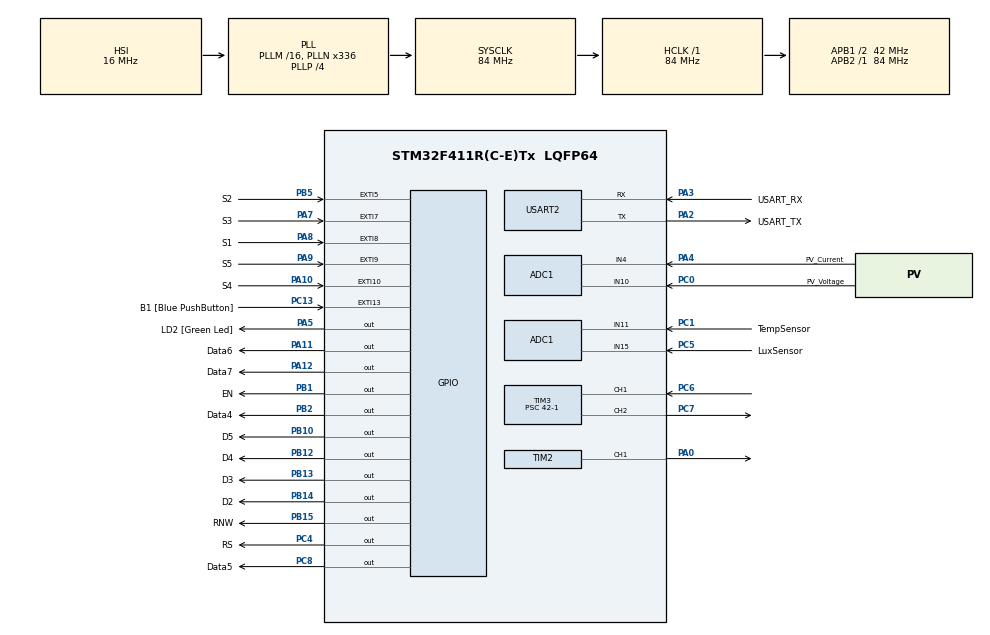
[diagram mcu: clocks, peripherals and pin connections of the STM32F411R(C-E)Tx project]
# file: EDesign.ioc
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ADC1.Channel-0\#ChannelRegularConversion=ADC_CHANNEL_4
ADC1.InjNumberOfConversion=0
ADC1.NbrOfConversion=1
ADC1.NbrOfConversionFlag=1
ADC1.Rank-0\#ChannelRegularConversion=1
ADC1.SamplingTime-0\#ChannelRegularConversion=ADC_SAMPLETIME_480CYCLES
ADC1.ScanConvMode=ENABLE
ADC1.master=1
Dma.ADC1.0.Direction=DMA_PERIPH_TO_MEMORY
Dma.ADC1.0.FIFOMode=DMA_FIFOMODE_DISABLE
Dma.ADC1.0.Instance=DMA2_Stream0
Dma.ADC1.0.MemDataAlignment=DMA_MDATAALIGN_HALFWORD
Dma.ADC1.0.MemInc=DMA_MINC_ENABLE
Dma.ADC1.0.Mode=DMA_CIRCULAR
Dma.ADC1.0.PeriphDataAlignment=DMA_PDATAALIGN_HALFWORD
Dma.ADC1.0.PeriphInc=DMA_PINC_DISABLE
Dma.ADC1.0.Priority=DMA_PRIORITY_LOW
Dma.Request0=ADC1
Dma.Request1=TIM2_CH1
Dma.TIM2_CH1.1.Direction=DMA_MEMORY_TO_PERIPH
Dma.TIM2_CH1.1.FIFOMode=DMA_FIFOMODE_DISABLE
Dma.TIM2_CH1.1.Instance=DMA1_Stream5
Dma.TIM2_CH1.1.MemDataAlignment=DMA_MDATAALIGN_WORD
Dma.TIM2_CH1.1.MemInc=DMA_MINC_ENABLE
Dma.TIM2_CH1.1.Mode=DMA_NORMAL
Dma.TIM2_CH1.1.PeriphDataAlignment=DMA_PDATAALIGN_WORD
Dma.TIM2_CH1.1.PeriphInc=DMA_PINC_DISABLE
Dma.TIM2_CH1.1.Priority=DMA_PRIORITY_LOW
Mcu.Family=STM32F4
Mcu.Name=STM32F411R(C-E)Tx
Mcu.Package=LQFP64
NVIC.ADC_IRQn=true\:1\:0\:true\:false\:true\:true\:true\:true
NVIC.DMA1_Stream5_IRQn=true\:0\:0\:false\:false\:true\:false\:true\:true
NVIC.DMA2_Stream0_IRQn=true\:0\:0\:false\:false\:true\:false\:true\:true
NVIC.EXTI15_10_IRQn=true\:0\:0\:false\:false\:true\:true\:true\:true
NVIC.EXTI9_5_IRQn=true\:2\:0\:true\:false\:true\:true\:true\:true
NVIC.PriorityGroup=NVIC_PRIORITYGROUP_4
NVIC.TIM2_IRQn=true\:0\:0\:false\:false\:true\:true\:true\:true
NVIC.TIM3_IRQn=true\:0\:0\:true\:false\:true\:true\:true\:true
NVIC.USART2_IRQn=true\:2\:0\:true\:false\:true\:true\:true\:true
PA0-WKUP.Signal=S_TIM2_CH1_ETR
PA10.GPIO_Label=S4
PA10.GPIO_ModeDefaultEXTI=GPIO_MODE_IT_RISING_FALLING
PA10.GPIO_PuPd=GPIO_PULLUP
PA10.Signal=GPXTI10
PA11.GPIO_Label=Data6
PA11.GPIO_PuPd=GPIO_PULLDOWN
PA11.Signal=GPIO_Output
PA12.GPIO_Label=Data7
PA12.GPIO_PuPd=GPIO_PULLDOWN
PA12.Signal=GPIO_Output
PA13.GPIO_Label=TMS
PA13.Mode=Serial_Wire
PA13.Signal=SYS_JTMS-SWDIO
PA14.GPIO_Label=TCK
PA14.Mode=Serial_Wire
PA14.Signal=SYS_JTCK-SWCLK
PA2.GPIO_Label=USART_TX
PA2.Mode=Asynchronous
PA2.Signal=USART2_TX
PA3.GPIO_Label=USART_RX
PA3.Mode=Asynchronous
PA3.Signal=USART2_RX
PA4.GPIO_Label=PV_Current
PA4.Signal=ADCx_IN4
PA5.GPIO_Label=LD2 [Green Led]
PA5.Signal=GPIO_Output
PA7.GPIO_Label=S3
PA7.GPIO_ModeDefaultEXTI=GPIO_MODE_IT_RISING_FALLING
PA7.GPIO_PuPd=GPIO_PULLUP
PA7.Signal=GPXTI7
PA8.GPIO_Label=S1
PA8.GPIO_ModeDefaultEXTI=GPIO_MODE_IT_RISING_FALLING
PA8.GPIO_PuPd=GPIO_PULLUP
PA8.Signal=GPXTI8
PA9.GPIO_Label=S5
PA9.GPIO_ModeDefaultEXTI=GPIO_MODE_IT_RISING_FALLING
PA9.GPIO_PuPd=GPIO_PULLUP
PA9.Signal=GPXTI9
PB1.GPIO_Label=EN
PB1.GPIO_PuPd=GPIO_PULLDOWN
PB1.Signal=GPIO_Output
PB10.GPIO_Label=D5
PB10.GPIO_PuPd=GPIO_PULLUP
PB10.PinState=GPIO_PIN_RESET
PB10.Signal=GPIO_Output
PB12.GPIO_Label=D4
PB12.GPIO_PuPd=GPIO_PULLUP
PB12.PinState=GPIO_PIN_RESET
PB12.Signal=GPIO_Output
PB13.GPIO_Label=D3
PB13.GPIO_PuPd=GPIO_PULLUP
PB13.PinState=GPIO_PIN_RESET
PB13.Signal=GPIO_Output
PB14.GPIO_Label=D2
PB14.GPIO_PuPd=GPIO_PULLUP
PB14.PinState=GPIO_PIN_RESET
PB14.Signal=GPIO_Output
PB15.GPIO_Label=RNW
PB15.GPIO_PuPd=GPIO_PULLDOWN
PB15.Signal=GPIO_Output
PB2.GPIO_Label=Data4
PB2.GPIO_PuPd=GPIO_PULLDOWN
PB2.Signal=GPIO_Output
PB3.GPIO_Label=SWO
PB3.Signal=SYS_JTDO-SWO
PB5.GPIO_Label=S2
PB5.GPIO_ModeDefaultEXTI=GPIO_MODE_IT_RISING_FALLING
PB5.GPIO_PuPd=GPIO_PULLUP
PB5.Signal=GPXTI5
PC0.GPIO_Label=PV_Voltage
PC0.Signal=ADCx_IN10
PC1.GPIO_Label=TempSensor
PC1.Signal=ADCx_IN11
PC13-ANTI_TAMP.GPIO_Label=B1 [Blue PushButton]
PC13-ANTI_TAMP.GPIO_ModeDefaultEXTI=GPIO_MODE_IT_FALLING
PC13-ANTI_TAMP.Signal=GPXTI13
PC14-OSC32_IN.Mode=LSE-External-Oscillator
PC14-OSC32_IN.Signal=RCC_OSC32_IN
PC15-OSC32_OUT.Mode=LSE-External-Oscillator
PC15-OSC32_OUT.Signal=RCC_OSC32_OUT
PC4.GPIO_Label=RS
PC4.GPIO_PuPd=GPIO_PULLDOWN
PC4.Signal=GPIO_Output
PC5.GPIO_Label=LuxSensor
PC5.Signal=ADCx_IN15
PC6.Signal=S_TIM3_CH1
PC7.Signal=S_TIM3_CH2
PC8.GPIO_Label=Data5
PC8.GPIO_PuPd=GPIO_PULLDOWN
PC8.Signal=GPIO_Output
PH0\ -\ OSC_IN.Mode=HSE-External-Clock-Source
PH0\ -\ OSC_IN.Signal=RCC_OSC_IN
PH1\ -\ OSC_OUT.Mode=HSE-External-Clock-Source
PH1\ -\ OSC_OUT.Signal=RCC_OSC_OUT
ProjectManager.HeapSize=0x200
ProjectManager.StackSize=0x400
ProjectManager.TargetToolchain=STM32CubeIDE
RCC.48MHZClocksFreq_Value=84000000
RCC.AHBFreq_Value=84000000
RCC.APB1CLKDivider=RCC_HCLK_DIV2
RCC.APB1Freq_Value=42000000
RCC.APB1TimFreq_Value=84000000
RCC.APB2Freq_Value=84000000
RCC.APB2TimFreq_Value=84000000
RCC.CortexFreq_Value=84000000
RCC.FLatency-AdvancedSettings=FLASH_LATENCY_2
RCC.HCLKFreq_Value=84000000
RCC.HSE_VALUE=8000000
RCC.HSI_VALUE=16000000
RCC.PLLN=336
RCC.PLLP=RCC_PLLP_DIV4
RCC.SYSCLKFreq_VALUE=84000000
RCC.SYSCLKSource=RCC_SYSCLKSOURCE_PLLCLK
RCC.VCOOutputFreq_Value=336000000
RTC.Date=19
RTC.Hours=16
RTC.Minutes=20
RTC.Month=RTC_MONTH_SEPTEMBER
RTC.WeekDay=RTC_WEEKDAY_THURSDAY
SH.ADCx_IN10.0=ADC1_IN10,IN10
SH.ADCx_IN11.0=ADC1_IN11,IN11
SH.ADCx_IN15.0=ADC1_IN15,IN15
SH.ADCx_IN4.0=ADC1_IN4,IN4
SH.S_TIM2_CH1_ETR.0=TIM2_CH1,PWM Generation1 CH1
SH.S_TIM3_CH1.0=TIM3_CH1,Input_Capture1_from_TI1
SH.S_TIM3_CH2.0=TIM3_CH2,PWM Generation2 CH2
TIM1.Channel-Output\ Compare1\ No\ Output=TIM_CHANNEL_1
TIM2.Channel-PWM\ Generation1\ CH1=TIM_CHANNEL_1
TIM2.Period=39
TIM2.Prescaler=83
TIM3.Channel-Input_Capture1_from_TI1=TIM_CHANNEL_1
TIM3.Channel-PWM\ Generation2\ CH2=TIM_CHANNEL_2
TIM3.Period=25999
TIM3.Prescaler=42-1
USART2.Parity=PARITY_ODD
USART2.VirtualMode=VM_ASYNC
USART2.WordLength=WORDLENGTH_9B
VP_RTC_VS_RTC_Activate.Mode=RTC_Enabled
VP_RTC_VS_RTC_Calendar.Mode=RTC_Calendar
VP_TIM1_VS_ClockSourceINT.Mode=Internal
VP_TIM1_VS_no_output1.Mode=Output Compare1 No Output
VP_TIM3_VS_ClockSourceINT.Mode=Internal
board=NUCLEO-F411RE

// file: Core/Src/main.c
/* USER CODE BEGIN Header */
/**
  ******************************************************************************
  * @file           : main.c
  * @brief          : Main program body
  ******************************************************************************
  * @attention
  *
  * Copyright (c) 2024 STMicroelectronics.
  * All rights reserved.
  *
  * This software is licensed under terms that can be found in the LICENSE file
  * in the root directory of this software component.
  * If no LICENSE file comes with this software, it is provided AS-IS.
  *
  ******************************************************************************
  */
/* USER CODE END Header */
#include "main.h"

/* USER CODE BEGIN Includes */
#include "proj_utils.h"
#include <string.h>
#include <stdlib.h>
#include "lcd.h"
/* USER CODE END Includes */

ADC_HandleTypeDef hadc1;
DMA_HandleTypeDef hdma_adc1;

RTC_HandleTypeDef hrtc;

TIM_HandleTypeDef htim1;
TIM_HandleTypeDef htim2;
TIM_HandleTypeDef htim3;
DMA_HandleTypeDef hdma_tim2_ch1;

UART_HandleTypeDef huart2;

/* USER CODE BEGIN PV */
uint16_t LED2 = GPIO_PIN_14;
uint16_t LED3 = GPIO_PIN_13;
uint16_t LED4 = GPIO_PIN_12;
uint16_t LED5 = GPIO_PIN_10;

uint16_t btnTop = GPIO_PIN_8;
uint16_t btnLeft = GPIO_PIN_6; //This is not set yet
uint16_t btnCenter = GPIO_PIN_7;
uint16_t btnRight = GPIO_PIN_8; //This is not set yet
uint16_t btnBottom = GPIO_PIN_9;

char txBuffer[20];
volatile uint16_t txCounter = 0;
char testMsg[16];
uint8_t studentNumber[] = "&_TANDO123_*\n";

bounceState btn1bounce;
bounceState btn2bounce;
bounceState btn3bounce;
bounceState btn4bounce;
bounceState btn5bounce;
//progStates state;
/* USER CODE END PV */

void SystemClock_Config(void);
static void MX_GPIO_Init(void);
static void MX_DMA_Init(void);
static void MX_USART2_UART_Init(void);
static void MX_ADC1_Init(void);
static void MX_TIM3_Init(void);
static void MX_RTC_Init(void);
static void MX_TIM1_Init(void);
static void MX_TIM2_Init(void);

int main(void)
{

  /* USER CODE BEGIN 1 */

	state = (progStates* )calloc(1,sizeof(progStates));
	tempSense = (tempSensor* )calloc(1,sizeof(tempSensor));
	screen = (lcdScreen* )calloc(1,sizeof(lcdScreen));
	powerMeasure = (powerSensor* )calloc(1,sizeof(powerSensor));
	sDateTime = (dateTime*)calloc(1,sizeof(dateTime));
	calibVals = (calibValue*)calloc(1,sizeof(calibValue));
	tMenu = (timeMenu*)calloc(1, sizeof(timeMenu));

//	Initialising the debounce button states. Assuming that all btns are pulled put this can be checked though ioc generated file.
	btn1bounce.level = 1;
	btn2bounce.level = 1;
	btn3bounce.level = 1;
	btn4bounce.level = 1;
	btn5bounce.level = 1;

  /* USER CODE END 1 */

  /* MCU Configuration--------------------------------------------------------*/

  /* Reset of all peripherals, Initializes the Flash interface and the Systick. */
  HAL_Init();

  /* USER CODE BEGIN Init */
  progInit(state);
  tempSensorInit(tempSense);
  screenInit(screen, tempSense, powerMeasure, sDateTime);
  calibIinit(calibVals);
  /* USER CODE END Init */

  /* Configure the system clock */
  SystemClock_Config();

  /* Initialize all configured peripherals */
  MX_GPIO_Init();
  MX_DMA_Init();
  MX_USART2_UART_Init();
  MX_ADC1_Init();
  MX_TIM3_Init();
  MX_RTC_Init();
  MX_TIM1_Init();
  MX_TIM2_Init();
  /* USER CODE BEGIN 2 */

  Lcd_PortType LCD_pin_ports[] = { GPIOB, GPIOC, GPIOA, GPIOA};
  Lcd_PinType LCD_pins[] ={GPIO_PIN_2, GPIO_PIN_8, GPIO_PIN_11, GPIO_PIN_12};

  Lcd_HandleTypeDef lcd;

  lcd = Lcd_create(LCD_pin_ports, LCD_pins, GPIOC, GPIO_PIN_4, GPIOB, GPIO_PIN_1, LCD_4_BIT_MODE);
  HAL_GPIO_WritePin(GPIOB, D4_Pin, GPIO_PIN_SET);

  while(HAL_GetTick() <=100){
	  __NOP();
  }

  HAL_UART_Transmit_IT(&huart2, studentNumber, sizeof(studentNumber)-1);
  int timeCapture = 0;
  int timeCaptured = 0;

#if 0 // This is for demo 3
  displayMode1(&lcd, screen);
  screen->currentDisplay = 1;
#endif

  HAL_RTC_GetTime(&hrtc, &sDateTime->Time, RTC_FORMAT_BIN);
  HAL_RTC_GetDate(&hrtc, &sDateTime->Date, RTC_FORMAT_BIN);
  sDateTime->year = 2024;
  HAL_TIM_PWM_Start(&htim2, TIM_CHANNEL_1);

  setDisplayMode3(screen, sDateTime);
  displayMode1(&lcd, screen);
#if 1
  HAL_TIM_IC_Start_IT(&htim3, TIM_CHANNEL_1);
#endif

  /* USER CODE END 2 */

  /* Infinite loop */
  while (1)
  {

    /* USER CODE BEGIN 3 */

//	  Checking for button presses

	  if (state->activeBtn != 0){

		  switch (state->activeBtn){

		  case S1_Pin:

			  if(state->mode == SMODE_DATETIME){
				  tMenu->topButtonPressed = 1;
			  }
			  else{
				  EN_Measure(state, tempSense, screen);
			  }
			  state->activeBtn = 0;
			  break;

		  case S5_Pin:

			  if(state->mode == SMODE_DATETIME){
				  tMenu->bottomButtonPressed = 1;
			  }
			  else{
			  SP_Measure(state, powerMeasure, calibVals, screen);
//			  screen->updateScreen = 0;

			  }
			  state->activeBtn = 0;
			  break;

		  case S2_Pin:

			  state->leftPress ++;

			  switch(state->leftPress){
			  case 3:
				  screen->screenRotate = 1;
				  screen->rortateTick = HAL_GetTick();
				  switchScreen(screen);
				  break;

			  case 4:
				  state->leftPress = 1;
				  screen->screenRotate = 0;
				  switchScreen(screen);
				  break;

			  default:
				  switchScreen(screen);
				  break;
			  }

			  state->activeBtn = 0;
			  break;

		  case S3_Pin:

			  if(state->mode == SMODE_DATETIME){
				  tMenu->itemIndex ++;
			  }
			  else{
				  displayMode3(&lcd, screen);
				  state->mode = SMODE_DATETIME;
				  tMenu->itemIndex ++;
			  }

			  state->activeBtn = 0;
			  break;

		  case S4_Pin:
			  state->mode = SMODE_CALB;
			  state->modeState = MEASURE;
			  state->activeBtn = 0;
			  break;

		  default:
			  state->activeBtn = 0;
			  break;
		  }

	  }

	  else{
		  __NOP();
	  }

//	  Checking for command
	  if (state->commandReady){
		  int isCommandVal = isCommandValid(state);

#if 1
		  switch(isCommandVal){

		  case 1:
			  uart_command_set(state);
			  switch(state->cmdCall){

			  case SMODE_EN:
				  EN_Measure(state,tempSense, screen);
//				  screen->updateScreen = 1;
//				  screen->currentDisplay = 2;
				  break;

			  case SMODE_SP:
				  SP_Measure(state, powerMeasure, calibVals,screen);
//				  screen->updateScreen = 1;
//				  screen->currentDisplay = 1;
				  break;

			  case SMODE_CALB:
				  state->mode = SMODE_CALB;
				  state->modeState = MEASURE;
				  break;

			  default:
				  state->commandReady = 0;
				  resetStr(state->commandMsg,sizeof(state->commandMsg));
				  break;
			  }

		  default:
			  state->commandReady = 0;
			  resetStr(state->commandMsg,sizeof(state->commandMsg));
			  break;
		 }

#endif

#if 0
		  if(isCommandValid(state)){
			  uart_command_set(state);
			  state->commandReady = 0;
			  if(state->mode == SMODE_EN){
				  EN_Measure(state,tempSense, screen);
			  }

			  else if(state->mode == SMODE_SP){
				  __NOP();
			  }

			  else if(state->mode == SMODE_CALB){
				  __NOP();
			  }

			  else{
				  state->commandReady = 0;
				  resetStr(state->commandMsg,sizeof(state->commandMsg));
			  }
		  }

		  else{
			  state->commandReady = 0;
			  resetStr(state->commandMsg,sizeof(state->commandMsg));
		  }

	  }
#endif
	  }else{
		  __NOP();
	  }
//	----End of command check----

//	  Power Measurement

	  if(state->mode == SMODE_SP && state->modeState == MEASURE){
		  if(powerMeasure->mppDutyCycle == 0){
			  powerMeasure->mppDutyCycle = 39;
		  }

		  else{
			  powerMeasure->mppDutyCycle = powerMeasure->mppDutyCycle - 1;
		  }

		  TIM2->CCR1 = powerMeasure->mppDutyCycle;

		  setAdcChannel(ADC_CHANNEL_10, &hadc1);
		  HAL_ADC_Start(&hadc1);
		  HAL_ADC_PollForConversion(&hadc1, HAL_MAX_DELAY);
		  powerMeasure->voltageRaw = HAL_ADC_GetValue(&hadc1);
		  HAL_ADC_Stop(&hadc1);

		  setAdcChannel(ADC_CHANNEL_4, &hadc1);
		  HAL_ADC_Start(&hadc1);
		  HAL_ADC_PollForConversion(&hadc1, HAL_MAX_DELAY);
		  powerMeasure->currentVoltageRaw = HAL_ADC_GetValue(&hadc1);
		  HAL_ADC_Stop(&hadc1);

		  toPVMeasures(powerMeasure, tempSense);
		  screen->updateScreen = 1;
		  setDisplayMode1(screen, powerMeasure);

	  }
	  else{
		  __NOP();
	  }

//	  End of power measurement

//	  Start of Calibration measure

	  if(state->mode == SMODE_CALB && state->modeState == MEASURE){
		  CA_Measure(calibVals, state, powerMeasure, tempSense, screen, &hadc1, &huart2);
	  }
	  else{
		  __NOP();
	  }

//	  End of Calibration measure

//	  Check for response
	  if (state->responseReady){
		  HAL_UART_Transmit_IT(&huart2,(uint8_t*) state->response, state->responseSize);
	  }

	  else{
		  __NOP();
	  }

//	  ----End of response check

//	  LED state
	  if (state->ledFlash == 1){
	  	if(timeCaptured){
	  		if((HAL_GetTick() - timeCapture) >= state->tickLedMax){
	  			  	  HAL_GPIO_TogglePin(GPIOB, state->targetLed);
	  			  	  timeCapture = HAL_GetTick();
	  			  	  state->ticks = 0;
	  		}
	  		else{
	  			  	  state->ticks = state->ticks + 1;
	  		}
	  	}

	  	else{
	  		timeCapture = HAL_GetTick();
	  		timeCaptured = 1;
	  	}

	  }

	  else{
		  HAL_GPIO_WritePin(GPIOB, state->targetLed, GPIO_PIN_SET);
	  	  timeCaptured = 0;
	  	}
//	  ----End of LED status----

//	  ----Begin temp sensor----
	  if(tempSense->digitalBegin){
		  if( (HAL_GetTick()-tempSense->startTime) >= 55){
			  if(tempSense->sampleIndex < 10){
				  setAdcChannel(ADC_CHANNEL_11, &hadc1);
				  HAL_ADC_Start(&hadc1);
				  HAL_ADC_PollForConversion(&hadc1, HAL_MAX_DELAY);
				  tempSense->taRaw = HAL_ADC_GetValue(&hadc1);
				  HAL_ADC_Stop(&hadc1);

//				  Getting lux value
				  setAdcChannel(ADC_CHANNEL_15, &hadc1);
				  HAL_ADC_Start(&hadc1);
				  HAL_ADC_PollForConversion(&hadc1, HAL_MAX_DELAY);
				  tempSense->luxRaw = HAL_ADC_GetValue(&hadc1);
				  HAL_ADC_Stop(&hadc1);

//				  Load sample
				  tempSense->digitalSamples[tempSense->sampleIndex] = tempSense->tspRaw;
				  tempSense->analogSamples[tempSense->sampleIndex] = tempSense->taRaw;
				  tempSense->luxSamples[tempSense->sampleIndex] = tempSense->luxRaw;

//				  Reset
				  tempSense->sampleIndex = tempSense->sampleIndex + 1;
				  tempSense->tspRaw = 0;
				  tempSense->taRaw = 0;
				  tempSense->luxRaw = 0;
				  tempSense->digitalBegin = 0;
				  tempSense->startTime = 0;
			  }
			  else{
				  tempSense->sampleIndex = 0;
				  setAdcChannel(ADC_CHANNEL_11, &hadc1);
				  HAL_ADC_Start(&hadc1);
				  HAL_ADC_PollForConversion(&hadc1, HAL_MAX_DELAY);
				  tempSense->taRaw = HAL_ADC_GetValue(&hadc1);
				  HAL_ADC_Stop(&hadc1);

				  setAdcChannel(ADC_CHANNEL_15, &hadc1);
				  HAL_ADC_Start(&hadc1);
				  HAL_ADC_PollForConversion(&hadc1, HAL_MAX_DELAY);
				  tempSense->luxRaw = HAL_ADC_GetValue(&hadc1);
				  HAL_ADC_Stop(&hadc1);

#if 0 //This is for debugging purposes.
				  taToTemp(tempSense);
				  tspToTemp(tempSense);
#endif
				  //Load sample
				  tempSense->digitalSamples[tempSense->sampleIndex] = tempSense->tspRaw;
				  tempSense->analogSamples[tempSense->sampleIndex] = tempSense->taRaw;
				  setAdcChannel(ADC_CHANNEL_11, &hadc1);
				  HAL_ADC_Start(&hadc1);
				  HAL_ADC_PollForConversion(&hadc1, HAL_MAX_DELAY);
				  tempSense->taRaw = HAL_ADC_GetValue(&hadc1);
				  HAL_ADC_Stop(&hadc1);

				  tempSense->tspRaw = 0;
				  tempSense->taRaw = 0;
				  tempSense->luxRaw = 0;
				  tempSense->digitalBegin = 0;
				  tempSense->startTime = 0;
			  }
		  }
	  }
//	  ----End of temp sensor----

//	  ----Start of screen----

	  if(screen->screenRotate == 1){
		  if((HAL_GetTick()-screen->rortateTick) >= 2000){
		  		  switchScreen(screen);
		  		  screen->rortateTick = HAL_GetTick();
		  }
		  else{
			  __NOP();
		  }
	  }

	  else{
		  __NOP();
	  }

	  if(screen->updateScreen == 1 && screen->screenClear == 0){

		switch(screen->currentDisplay){
			case 1:
				displayMode1(&lcd, screen);
				screen->updateScreen = 0;
				break;

			case 2:
				displayMode2(&lcd, screen);
				screen->updateScreen = 0;
				break;

			case 3:
				displayMode3(&lcd, screen);
				screen->updateScreen = 0;
				break;

			default:
				__NOP();
				break;

		  }
#if 0
		  if(screen->currentDisplay == 1){
			  displayMode1(&lcd, screen);
		  }

		  else if(screen->currentDisplay == 2){
			  displayMode2(&lcd, screen);
		  }

		  else{
			  __NOP();
		  }
		  screen->updateScreen = 0;
#endif

	  }

	  else if(screen->screenClear == 1){
		  Lcd_clear(&lcd);
		  screen->screenClear = 0;
	  }

	  else{
		  __NOP();
	  }

//	  ----Start of screen----

//	  ----Start of Date Time----
	  if(state->mode == SMODE_DATETIME){

		  RTC_DateTypeDef sDate = sDateTime->Date;
		  RTC_TimeTypeDef sTime = sDateTime->Time;

		  switch(tMenu->itemIndex){

		  case DAY:

			  if(tMenu->topButtonPressed == 1){
				  sDate.Date = sDate.Date + 1;
				  sDateTime->Date = sDate;

			  }

			  else if(tMenu->bottomButtonPressed == 1){
				  sDate.Date = sDate.Date - 1;
				  sDateTime->Date = sDate;
			  }
			  HAL_RTC_SetDate(&hrtc, &sDateTime->Date, RTC_FORMAT_BIN);
			  break;

		  case MONTH:

			  if(tMenu->topButtonPressed == 1){
				  sDate.Month = sDate.Month + 1;
				  sDateTime->Date = sDate;
			  }

			  else if(tMenu->bottomButtonPressed == 1){
				  sDate.Month = sDate.Month - 1;
				  sDateTime->Date = sDate;
			  }
			  HAL_RTC_SetDate(&hrtc, &sDateTime->Date, RTC_FORMAT_BIN);
			  break;

		  case YEAR:

			  if(tMenu->topButtonPressed == 1){
				  sDateTime->year ++;
			  }

			  else if(tMenu->bottomButtonPressed == 1){
				  sDateTime->year --;
			  }
			  HAL_RTC_SetDate(&hrtc, &sDateTime->Date, RTC_FORMAT_BIN);
			  break;

		  case HOUR:
			  if(tMenu->topButtonPressed == 1){
					  sTime.Hours ++;
					  sDateTime->Time = sTime;
			  }

			  else if(tMenu->bottomButtonPressed == 1){
				  	  sTime.Hours --;
					  sDateTime->Time = sTime;
			  }
			  HAL_RTC_SetTime(&hrtc, &sDateTime->Time, RTC_FORMAT_BIN);
			  break;

		  case MIN:
			  if(tMenu->topButtonPressed == 1){
					  sTime.Minutes ++;
					  sDateTime->Time = sTime;
			  }

			  else if(tMenu->bottomButtonPressed == 1){
				  	  sTime.Minutes --;
					  sDateTime->Time = sTime;
			  }
			  HAL_RTC_SetTime(&hrtc, &sDateTime->Time, RTC_FORMAT_BIN);
			  break;

		  case SEC:
			  if(tMenu->topButtonPressed == 1){
					  sTime.Seconds ++;
					  sDateTime->Time = sTime;
			  }

			  else if(tMenu->bottomButtonPressed == 1){
				  	  sTime.Seconds --;
					  sDateTime->Time = sTime;
			  }
			  HAL_RTC_SetTime(&hrtc, &sDateTime->Time, RTC_FORMAT_BIN);
			  break;

		  case SET_DATE_TIME:

			  tMenu->timeSet = 1;
			  tMenu->itemIndex = 1;
			  break;

		  default:
			  __NOP();

		  }
#if 0
		  HAL_RTC_SetTime(&hrtc, &sDateTime->Time, RTC_FORMAT_BIN);
		  HAL_RTC_SetDate(&hrtc, &sDateTime->Date, RTC_FORMAT_BIN);
#endif
		  if(tMenu->timeSet == 1 ){
			  HAL_RTC_GetTime(&hrtc, &sDateTime->Time, RTC_FORMAT_BIN);
			  HAL_RTC_GetDate(&hrtc, &sDateTime->Date, RTC_FORMAT_BIN);
			  setDisplayMode3(screen, sDateTime);
			  tMenu->topButtonPressed = 0;
			  tMenu->bottomButtonPressed = 0;
			  screen->updateScreen = 1;
		  }

		  else{
			  tMenu->topButtonPressed = 0;
			  tMenu->bottomButtonPressed = 0;
			  HAL_RTC_GetTime(&hrtc, &sDateTime->Time, RTC_FORMAT_BIN);
			  HAL_RTC_GetDate(&hrtc, &sDateTime->Date, RTC_FORMAT_BIN);
			  screen->updateScreen = 1;
			  setDisplayMode3(screen, sDateTime);
		  }
	  }

	  else{
		  __NOP();
	  }

	  if(tMenu->timeSet == 1){
		  HAL_RTC_GetTime(&hrtc, &sDateTime->Time, RTC_FORMAT_BIN);
		  HAL_RTC_GetDate(&hrtc, &sDateTime->Date, RTC_FORMAT_BIN);
		  setDisplayMode3(screen, sDateTime);
		  screen->updateScreen = 1;
	  }
	  else{
		  __NOP();
	  }

//	  ----End of screen----

  }
  /* USER CODE END 3 */
}

void SystemClock_Config(void)
{
  RCC_OscInitTypeDef RCC_OscInitStruct = {0};
  RCC_ClkInitTypeDef RCC_ClkInitStruct = {0};

  /** Configure the main internal regulator output voltage
  */
  __HAL_RCC_PWR_CLK_ENABLE();
  __HAL_PWR_VOLTAGESCALING_CONFIG(PWR_REGULATOR_VOLTAGE_SCALE1);

  /** Initializes the RCC Oscillators according to the specified parameters
  * in the RCC_OscInitTypeDef structure.
  */
  RCC_OscInitStruct.OscillatorType = RCC_OSCILLATORTYPE_HSI|RCC_OSCILLATORTYPE_LSI;
  RCC_OscInitStruct.HSIState = RCC_HSI_ON;
  RCC_OscInitStruct.HSICalibrationValue = RCC_HSICALIBRATION_DEFAULT;
  RCC_OscInitStruct.LSIState = RCC_LSI_ON;
  RCC_OscInitStruct.PLL.PLLState = RCC_PLL_ON;
  RCC_OscInitStruct.PLL.PLLSource = RCC_PLLSOURCE_HSI;
  RCC_OscInitStruct.PLL.PLLM = 16;
  RCC_OscInitStruct.PLL.PLLN = 336;
  RCC_OscInitStruct.PLL.PLLP = RCC_PLLP_DIV4;
  RCC_OscInitStruct.PLL.PLLQ = 4;
  if (HAL_RCC_OscConfig(&RCC_OscInitStruct) != HAL_OK)
  {
    Error_Handler();
  }

  /** Initializes the CPU, AHB and APB buses clocks
  */
  RCC_ClkInitStruct.ClockType = RCC_CLOCKTYPE_HCLK|RCC_CLOCKTYPE_SYSCLK
                              |RCC_CLOCKTYPE_PCLK1|RCC_CLOCKTYPE_PCLK2;
  RCC_ClkInitStruct.SYSCLKSource = RCC_SYSCLKSOURCE_PLLCLK;
  RCC_ClkInitStruct.AHBCLKDivider = RCC_SYSCLK_DIV1;
  RCC_ClkInitStruct.APB1CLKDivider = RCC_HCLK_DIV2;
  RCC_ClkInitStruct.APB2CLKDivider = RCC_HCLK_DIV1;

  if (HAL_RCC_ClockConfig(&RCC_ClkInitStruct, FLASH_LATENCY_2) != HAL_OK)
  {
    Error_Handler();
  }
}

static void MX_ADC1_Init(void)
{

  ADC_ChannelConfTypeDef sConfig = {0};

  /** Configure the global features of the ADC (Clock, Resolution, Data Alignment and number of conversion)
  */
  hadc1.Instance = ADC1;
  hadc1.Init.ClockPrescaler = ADC_CLOCK_SYNC_PCLK_DIV4;
  hadc1.Init.Resolution = ADC_RESOLUTION_12B;
  hadc1.Init.ScanConvMode = ENABLE;
  hadc1.Init.ContinuousConvMode = DISABLE;
  hadc1.Init.DiscontinuousConvMode = DISABLE;
  hadc1.Init.ExternalTrigConvEdge = ADC_EXTERNALTRIGCONVEDGE_NONE;
  hadc1.Init.ExternalTrigConv = ADC_SOFTWARE_START;
  hadc1.Init.DataAlign = ADC_DATAALIGN_RIGHT;
  hadc1.Init.NbrOfConversion = 1;
  hadc1.Init.DMAContinuousRequests = DISABLE;
  hadc1.Init.EOCSelection = ADC_EOC_SINGLE_CONV;
  if (HAL_ADC_Init(&hadc1) != HAL_OK)
  {
    Error_Handler();
  }

  /** Configure for the selected ADC regular channel its corresponding rank in the sequencer and its sample time.
  */
  sConfig.Channel = ADC_CHANNEL_4;
  sConfig.Rank = 1;
  sConfig.SamplingTime = ADC_SAMPLETIME_56CYCLES;
  if (HAL_ADC_ConfigChannel(&hadc1, &sConfig) != HAL_OK)
  {
    Error_Handler();
  }

}

static void MX_RTC_Init(void)
{

  RTC_TimeTypeDef sTime = {0};
  RTC_DateTypeDef sDate = {0};

  /** Initialize RTC Only
  */
  hrtc.Instance = RTC;
  hrtc.Init.HourFormat = RTC_HOURFORMAT_24;
  hrtc.Init.AsynchPrediv = 127;
  hrtc.Init.SynchPrediv = 255;
  hrtc.Init.OutPut = RTC_OUTPUT_DISABLE;
  hrtc.Init.OutPutPolarity = RTC_OUTPUT_POLARITY_HIGH;
  hrtc.Init.OutPutType = RTC_OUTPUT_TYPE_OPENDRAIN;
  if (HAL_RTC_Init(&hrtc) != HAL_OK)
  {
    Error_Handler();
  }

  /** Initialize RTC and set the Time and Date
  */
  sTime.Hours = 0x16;
  sTime.Minutes = 0x20;
  sTime.Seconds = 0x0;
  sTime.DayLightSaving = RTC_DAYLIGHTSAVING_NONE;
  sTime.StoreOperation = RTC_STOREOPERATION_RESET;
  if (HAL_RTC_SetTime(&hrtc, &sTime, RTC_FORMAT_BCD) != HAL_OK)
  {
    Error_Handler();
  }
  sDate.WeekDay = RTC_WEEKDAY_THURSDAY;
  sDate.Month = RTC_MONTH_SEPTEMBER;
  sDate.Date = 0x19;
  sDate.Year = 0x0;

  if (HAL_RTC_SetDate(&hrtc, &sDate, RTC_FORMAT_BCD) != HAL_OK)
  {
    Error_Handler();
  }

}

static void MX_TIM1_Init(void)
{

  TIM_ClockConfigTypeDef sClockSourceConfig = {0};
  TIM_MasterConfigTypeDef sMasterConfig = {0};
  TIM_OC_InitTypeDef sConfigOC = {0};
  TIM_BreakDeadTimeConfigTypeDef sBreakDeadTimeConfig = {0};

  htim1.Instance = TIM1;
  htim1.Init.Prescaler = 0;
  htim1.Init.CounterMode = TIM_COUNTERMODE_UP;
  htim1.Init.Period = 65535;
  htim1.Init.ClockDivision = TIM_CLOCKDIVISION_DIV1;
  htim1.Init.RepetitionCounter = 0;
  htim1.Init.AutoReloadPreload = TIM_AUTORELOAD_PRELOAD_DISABLE;
  if (HAL_TIM_Base_Init(&htim1) != HAL_OK)
  {
    Error_Handler();
  }
  sClockSourceConfig.ClockSource = TIM_CLOCKSOURCE_INTERNAL;
  if (HAL_TIM_ConfigClockSource(&htim1, &sClockSourceConfig) != HAL_OK)
  {
    Error_Handler();
  }
  if (HAL_TIM_OC_Init(&htim1) != HAL_OK)
  {
    Error_Handler();
  }
  sMasterConfig.MasterOutputTrigger = TIM_TRGO_RESET;
  sMasterConfig.MasterSlaveMode = TIM_MASTERSLAVEMODE_DISABLE;
  if (HAL_TIMEx_MasterConfigSynchronization(&htim1, &sMasterConfig) != HAL_OK)
  {
    Error_Handler();
  }
  sConfigOC.OCMode = TIM_OCMODE_TIMING;
  sConfigOC.Pulse = 0;
  sConfigOC.OCPolarity = TIM_OCPOLARITY_HIGH;
  sConfigOC.OCNPolarity = TIM_OCNPOLARITY_HIGH;
  sConfigOC.OCFastMode = TIM_OCFAST_DISABLE;
  sConfigOC.OCIdleState = TIM_OCIDLESTATE_RESET;
  sConfigOC.OCNIdleState = TIM_OCNIDLESTATE_RESET;
  if (HAL_TIM_OC_ConfigChannel(&htim1, &sConfigOC, TIM_CHANNEL_1) != HAL_OK)
  {
    Error_Handler();
  }
  sBreakDeadTimeConfig.OffStateRunMode = TIM_OSSR_DISABLE;
  sBreakDeadTimeConfig.OffStateIDLEMode = TIM_OSSI_DISABLE;
  sBreakDeadTimeConfig.LockLevel = TIM_LOCKLEVEL_OFF;
  sBreakDeadTimeConfig.DeadTime = 0;
  sBreakDeadTimeConfig.BreakState = TIM_BREAK_DISABLE;
  sBreakDeadTimeConfig.BreakPolarity = TIM_BREAKPOLARITY_HIGH;
  sBreakDeadTimeConfig.AutomaticOutput = TIM_AUTOMATICOUTPUT_DISABLE;
  if (HAL_TIMEx_ConfigBreakDeadTime(&htim1, &sBreakDeadTimeConfig) != HAL_OK)
  {
    Error_Handler();
  }

}

static void MX_TIM2_Init(void)
{

  TIM_MasterConfigTypeDef sMasterConfig = {0};
  TIM_OC_InitTypeDef sConfigOC = {0};

  htim2.Instance = TIM2;
  htim2.Init.Prescaler = 83;
  htim2.Init.CounterMode = TIM_COUNTERMODE_UP;
  htim2.Init.Period = 39;
  htim2.Init.ClockDivision = TIM_CLOCKDIVISION_DIV1;
  htim2.Init.AutoReloadPreload = TIM_AUTORELOAD_PRELOAD_DISABLE;
  if (HAL_TIM_PWM_Init(&htim2) != HAL_OK)
  {
    Error_Handler();
  }
  sMasterConfig.MasterOutputTrigger = TIM_TRGO_RESET;
  sMasterConfig.MasterSlaveMode = TIM_MASTERSLAVEMODE_DISABLE;
  if (HAL_TIMEx_MasterConfigSynchronization(&htim2, &sMasterConfig) != HAL_OK)
  {
    Error_Handler();
  }
  sConfigOC.OCMode = TIM_OCMODE_PWM1;
  sConfigOC.Pulse = 0;
  sConfigOC.OCPolarity = TIM_OCPOLARITY_HIGH;
  sConfigOC.OCFastMode = TIM_OCFAST_DISABLE;
  if (HAL_TIM_PWM_ConfigChannel(&htim2, &sConfigOC, TIM_CHANNEL_1) != HAL_OK)
  {
    Error_Handler();
  }
  HAL_TIM_MspPostInit(&htim2);

}

static void MX_TIM3_Init(void)
{

  TIM_ClockConfigTypeDef sClockSourceConfig = {0};
  TIM_MasterConfigTypeDef sMasterConfig = {0};
  TIM_IC_InitTypeDef sConfigIC = {0};
  TIM_OC_InitTypeDef sConfigOC = {0};

  htim3.Instance = TIM3;
  htim3.Init.Prescaler = 42-1;
  htim3.Init.CounterMode = TIM_COUNTERMODE_UP;
  htim3.Init.Period = 25999;
  htim3.Init.ClockDivision = TIM_CLOCKDIVISION_DIV1;
  htim3.Init.AutoReloadPreload = TIM_AUTORELOAD_PRELOAD_DISABLE;
  if (HAL_TIM_Base_Init(&htim3) != HAL_OK)
  {
    Error_Handler();
  }
  sClockSourceConfig.ClockSource = TIM_CLOCKSOURCE_INTERNAL;
  if (HAL_TIM_ConfigClockSource(&htim3, &sClockSourceConfig) != HAL_OK)
  {
    Error_Handler();
  }
  if (HAL_TIM_IC_Init(&htim3) != HAL_OK)
  {
    Error_Handler();
  }
  if (HAL_TIM_PWM_Init(&htim3) != HAL_OK)
  {
    Error_Handler();
  }
  sMasterConfig.MasterOutputTrigger = TIM_TRGO_RESET;
  sMasterConfig.MasterSlaveMode = TIM_MASTERSLAVEMODE_DISABLE;
  if (HAL_TIMEx_MasterConfigSynchronization(&htim3, &sMasterConfig) != HAL_OK)
  {
    Error_Handler();
  }
  sConfigIC.ICPolarity = TIM_INPUTCHANNELPOLARITY_RISING;
  sConfigIC.ICSelection = TIM_ICSELECTION_DIRECTTI;
  sConfigIC.ICPrescaler = TIM_ICPSC_DIV1;
  sConfigIC.ICFilter = 0;
  if (HAL_TIM_IC_ConfigChannel(&htim3, &sConfigIC, TIM_CHANNEL_1) != HAL_OK)
  {
    Error_Handler();
  }
  sConfigOC.OCMode = TIM_OCMODE_PWM1;
  sConfigOC.Pulse = 0;
  sConfigOC.OCPolarity = TIM_OCPOLARITY_HIGH;
  sConfigOC.OCFastMode = TIM_OCFAST_DISABLE;
  if (HAL_TIM_PWM_ConfigChannel(&htim3, &sConfigOC, TIM_CHANNEL_2) != HAL_OK)
  {
    Error_Handler();
  }
  HAL_TIM_MspPostInit(&htim3);

}

static void MX_USART2_UART_Init(void)
{

  huart2.Instance = USART2;
  huart2.Init.BaudRate = 115200;
  huart2.Init.WordLength = UART_WORDLENGTH_9B;
  huart2.Init.StopBits = UART_STOPBITS_1;
  huart2.Init.Parity = UART_PARITY_ODD;
  huart2.Init.Mode = UART_MODE_TX_RX;
  huart2.Init.HwFlowCtl = UART_HWCONTROL_NONE;
  huart2.Init.OverSampling = UART_OVERSAMPLING_16;
  if (HAL_UART_Init(&huart2) != HAL_OK)
  {
    Error_Handler();
  }

}

static void MX_DMA_Init(void)
{

  /* DMA controller clock enable */
  __HAL_RCC_DMA2_CLK_ENABLE();
  __HAL_RCC_DMA1_CLK_ENABLE();

  /* DMA interrupt init */
  /* DMA1_Stream5_IRQn interrupt configuration */
  HAL_NVIC_SetPriority(DMA1_Stream5_IRQn, 0, 0);
  HAL_NVIC_EnableIRQ(DMA1_Stream5_IRQn);
  /* DMA2_Stream0_IRQn interrupt configuration */
  HAL_NVIC_SetPriority(DMA2_Stream0_IRQn, 0, 0);
  HAL_NVIC_EnableIRQ(DMA2_Stream0_IRQn);

}

static void MX_GPIO_Init(void)
{
  GPIO_InitTypeDef GPIO_InitStruct = {0};

  /* GPIO Ports Clock Enable */
  __HAL_RCC_GPIOC_CLK_ENABLE();
  __HAL_RCC_GPIOH_CLK_ENABLE();
  __HAL_RCC_GPIOA_CLK_ENABLE();
  __HAL_RCC_GPIOB_CLK_ENABLE();

  /*Configure GPIO pin Output Level */
  HAL_GPIO_WritePin(GPIOA, LD2_Pin|Data6_Pin|Data7_Pin, GPIO_PIN_RESET);

  /*Configure GPIO pin Output Level */
  HAL_GPIO_WritePin(GPIOC, RS_Pin|Data5_Pin, GPIO_PIN_RESET);

  /*Configure GPIO pin Output Level */
  HAL_GPIO_WritePin(GPIOB, EN_Pin|Data4_Pin|D5_Pin|D4_Pin
                          |D3_Pin|D2_Pin|RNW_Pin, GPIO_PIN_RESET);

  /*Configure GPIO pin : B1_Pin */
  GPIO_InitStruct.Pin = B1_Pin;
  GPIO_InitStruct.Mode = GPIO_MODE_IT_FALLING;
  GPIO_InitStruct.Pull = GPIO_NOPULL;
  HAL_GPIO_Init(B1_GPIO_Port, &GPIO_InitStruct);

  /*Configure GPIO pin : LD2_Pin */
  GPIO_InitStruct.Pin = LD2_Pin;
  GPIO_InitStruct.Mode = GPIO_MODE_OUTPUT_PP;
  GPIO_InitStruct.Pull = GPIO_NOPULL;
  GPIO_InitStruct.Speed = GPIO_SPEED_FREQ_LOW;
  HAL_GPIO_Init(LD2_GPIO_Port, &GPIO_InitStruct);

  /*Configure GPIO pins : S3_Pin S1_Pin S5_Pin S4_Pin */
  GPIO_InitStruct.Pin = S3_Pin|S1_Pin|S5_Pin|S4_Pin;
  GPIO_InitStruct.Mode = GPIO_MODE_IT_RISING_FALLING;
  GPIO_InitStruct.Pull = GPIO_PULLUP;
  HAL_GPIO_Init(GPIOA, &GPIO_InitStruct);

  /*Configure GPIO pins : RS_Pin Data5_Pin */
  GPIO_InitStruct.Pin = RS_Pin|Data5_Pin;
  GPIO_InitStruct.Mode = GPIO_MODE_OUTPUT_PP;
  GPIO_InitStruct.Pull = GPIO_PULLDOWN;
  GPIO_InitStruct.Speed = GPIO_SPEED_FREQ_LOW;
  HAL_GPIO_Init(GPIOC, &GPIO_InitStruct);

  /*Configure GPIO pins : EN_Pin Data4_Pin RNW_Pin */
  GPIO_InitStruct.Pin = EN_Pin|Data4_Pin|RNW_Pin;
  GPIO_InitStruct.Mode = GPIO_MODE_OUTPUT_PP;
  GPIO_InitStruct.Pull = GPIO_PULLDOWN;
  GPIO_InitStruct.Speed = GPIO_SPEED_FREQ_LOW;
  HAL_GPIO_Init(GPIOB, &GPIO_InitStruct);

  /*Configure GPIO pins : D5_Pin D4_Pin D3_Pin D2_Pin */
  GPIO_InitStruct.Pin = D5_Pin|D4_Pin|D3_Pin|D2_Pin;
  GPIO_InitStruct.Mode = GPIO_MODE_OUTPUT_PP;
  GPIO_InitStruct.Pull = GPIO_PULLUP;
  GPIO_InitStruct.Speed = GPIO_SPEED_FREQ_LOW;
  HAL_GPIO_Init(GPIOB, &GPIO_InitStruct);

  /*Configure GPIO pins : Data6_Pin Data7_Pin */
  GPIO_InitStruct.Pin = Data6_Pin|Data7_Pin;
  GPIO_InitStruct.Mode = GPIO_MODE_OUTPUT_PP;
  GPIO_InitStruct.Pull = GPIO_PULLDOWN;
  GPIO_InitStruct.Speed = GPIO_SPEED_FREQ_LOW;
  HAL_GPIO_Init(GPIOA, &GPIO_InitStruct);

  /*Configure GPIO pin : S2_Pin */
  GPIO_InitStruct.Pin = S2_Pin;
  GPIO_InitStruct.Mode = GPIO_MODE_IT_RISING_FALLING;
  GPIO_InitStruct.Pull = GPIO_PULLUP;
  HAL_GPIO_Init(S2_GPIO_Port, &GPIO_InitStruct);

  /* EXTI interrupt init*/
  HAL_NVIC_SetPriority(EXTI9_5_IRQn, 2, 0);
  HAL_NVIC_EnableIRQ(EXTI9_5_IRQn);

  HAL_NVIC_SetPriority(EXTI15_10_IRQn, 0, 0);
  HAL_NVIC_EnableIRQ(EXTI15_10_IRQn);

}

/* USER CODE BEGIN 4 */
void HAL_GPIO_EXTI_Callback(uint16_t GPIO_Pin){

#if 1
	switch (GPIO_Pin){

	case S1_Pin:
		if(btn1bounce.level == 1){
			btn1bounce.goLowTime = HAL_GetTick();
			btn1bounce.level = 0;
		}
		else {
			btn1bounce.goHighTime = HAL_GetTick();
			btn1bounce.level = 1;
			if( (btn1bounce.goHighTime - btn1bounce.goLowTime) > 25){
				if(state->buttonEnabled){
					state->uartEnabled = !state->uartEnabled;

#if 1
					state->activeBtn = S1_Pin;
#endif

#if 0
					EN_Measure(state, tempSense, screen);
#endif

				}

				else{
					__NOP();
				}
			}
			else{
				__NOP();
			}
		}

		break;

	case S5_Pin:

		if(btn1bounce.level == 1){
					btn1bounce.goLowTime = HAL_GetTick();
					btn1bounce.level = 0;
				}
				else {
					btn1bounce.goHighTime = HAL_GetTick();
					btn1bounce.level = 1;
					if( (btn1bounce.goHighTime - btn1bounce.goLowTime) > 25){
						if(state->buttonEnabled){
							state->uartEnabled = !state->uartEnabled;
							state->activeBtn = S5_Pin;
						}

						else{
							__NOP();
						}
					}
					else{
						__NOP();
					}
				}
		  break;

	case S3_Pin:

		if(btn1bounce.level == 1){
					btn1bounce.goLowTime = HAL_GetTick();
					btn1bounce.level = 0;
				}
				else {
					btn1bounce.goHighTime = HAL_GetTick();
					btn1bounce.level = 1;
					if( (btn1bounce.goHighTime - btn1bounce.goLowTime) > 25){
						if(state->buttonEnabled){
							state->uartEnabled = !state->uartEnabled;
							state->activeBtn = S3_Pin;
						}

						else{
							__NOP();
						}
					}
					else{
						__NOP();
					}
				}
		  break;

	case S4_Pin:

		if(btn1bounce.level == 1){
					btn1bounce.goLowTime = HAL_GetTick();
					btn1bounce.level = 0;
				}
				else {
					btn1bounce.goHighTime = HAL_GetTick();
					btn1bounce.level = 1;
					if( (btn1bounce.goHighTime - btn1bounce.goLowTime) > 25){
						if(state->buttonEnabled){
							state->uartEnabled = !state->uartEnabled;
							state->activeBtn = S4_Pin;
						}

						else{
							__NOP();
						}
					}
					else{
						__NOP();
					}
				}
		  break;

	case S2_Pin:

		if(btn1bounce.level == 1){
					btn1bounce.goLowTime = HAL_GetTick();
					btn1bounce.level = 0;
				}
				else {
					btn1bounce.goHighTime = HAL_GetTick();
					btn1bounce.level = 1;
					if( (btn1bounce.goHighTime - btn1bounce.goLowTime) > 25){
#if 1
						state->activeBtn = S2_Pin;
#endif

#if 0 // This is if we can not control the other button when measuring
						if(state->buttonEnabled){
							state->activeBtn = S2_Pin;
						}

						else{
							__NOP();
						}
#endif
					}
					else{
						__NOP();
					}
				}
		  break;
#if 0
	case DigitalTempSensor_Pin:
		if(tempSense->digitalBegin == 0){
			tempSense->digitalBegin = 1;
			tempSense->startTime = HAL_GetTick();
			tempSense->tspRaw ++;
		}

		else{
			tempSense->tspRaw ++;
		}
		break;
#endif

	default:
		break;

	}

#endif

#if 0

	  if (GPIO_Pin == topCenter){
		  if(btn1bounce.level == 1){
		  			btn1bounce.goLowTime = HAL_GetTick();
		  			btn1bounce.level = 0;
		  		}

		  		else {
		  			btn1bounce.goHighTime = HAL_GetTick();
		  			btn1bounce.level = 1;
		  			if( (btn1bounce.goHighTime - btn1bounce.goLowTime) > 25){
		  				if(state->buttonEnabled){
		  					state->uartEnabled = !state->uartEnabled;
		  					EN_Measure(state, tempSense, screen);
		  				}

		  				else{
		  					__NOP();
		  				}
		  			}
		  			else{
		  				__NOP();
		  			}
		  		}
	  }

	  else if(GPIO_Pin == btnCenter){
		  HAL_GPIO_WritePin(GPIOB, state->targetLed, 0);
		  state->ledFlash = !state->ledFlash;
		  state->targetLed = LED2;
		  state->tickLedMax = D2_TICKS;
		  state->mode = 100;
		  state->ticks = 0;
	  }

	  else if (GPIO_Pin == GPIO_PIN_6){
		  if(tempSense->digitalBegin == 0){
			  tempSense->digitalBegin = 1;
			  tempSense->startTime = HAL_GetTick();
			  tempSense->tspRaw ++;
		  }

		  else{
			  tempSense->tspRaw ++;
		  }
	  }

	  else{
		  __NOP();
	  }

#endif

}

void HAL_UART_TxCpltCallback(UART_HandleTypeDef *huart)
{
    if (huart == &huart2){
//    	Should make a cleanup function for response
    	state->responseReady = 0;
    	resetStr(state->commandMsg,sizeof(state->commandMsg));
    	state->responseSize = 0;

//    	Should make a cleanup function for command
    	state->commandReady = 0;
    	resetStr(state->response,sizeof(state->response));
    	state->commandSize = 0;
    	HAL_UART_Receive_IT(&huart2, (uint8_t*)state->commandByte, 1);
    }
}

void HAL_UART_RxCpltCallback(UART_HandleTypeDef *huart){

	if (state->commandByte[0] == '\n'){
		if(state->uartEnabled){
			state->commandMsg[state->commandSize] = state->commandByte[0];
			state->commandSize = 0;
			state->commandReady = 1;
			state->buttonEnabled = !state->buttonEnabled;
			HAL_UART_Receive_IT(&huart2, (uint8_t*)state->commandByte, 1);
		}

		else{
			state->commandSize = 0;
			HAL_UART_Receive_IT(&huart2, (uint8_t*)state->commandByte, 1);
		}

//		HAL_UART_Transmit_IT(&huart2, (uint8_t*)state->commandMsg, state->commandSize);
	}
	else{
		state->commandMsg[state->commandSize] = state->commandByte[0];
		state->commandSize = state->commandSize + 1;
//		HAL_UART_Transmit_IT(&huart2, (uint8_t*)state->commandMsg, state->commandSize);
		HAL_UART_Receive_IT(&huart2, (uint8_t*)state->commandByte, 1);
	}
}
#if 1
void HAL_TIM_IC_CaptureCallback(TIM_HandleTypeDef *htim){
	switch(htim->Channel){
	case HAL_TIM_ACTIVE_CHANNEL_1:

		if((HAL_GetTick()-tempSense->startTime) >= 55){
			if(tempSense->digitalBegin == 0){
				tempSense->digitalBegin = 1;
				tempSense->startTime = HAL_GetTick();
				tempSense->tspRaw ++;
			}
		}

		else{
			if(tempSense->digitalBegin == 0){
				tempSense->digitalBegin = 1;
				tempSense->startTime = HAL_GetTick();
				tempSense->tspRaw ++;
			}

			else{
				tempSense->tspRaw ++;
			}
		}

		break;
	default:
		__NOP();
		break;
	}
}
#endif

#if 1
void HAL_TIM_PeriodElapsedCallback(TIM_HandleTypeDef *htim){
	if(htim->Instance == TIM3){
		if((HAL_GetTick()-tempSense->startTime) >= 55){
			tempSense->digitalBegin = 0;
			tempSense->tspRaw = 0;
		}
		else{
			__NOP();
		}
	}
}
#endif
/* USER CODE END 4 */

void Error_Handler(void)
{
  __disable_irq();
  while (1)
  {
  }
}
